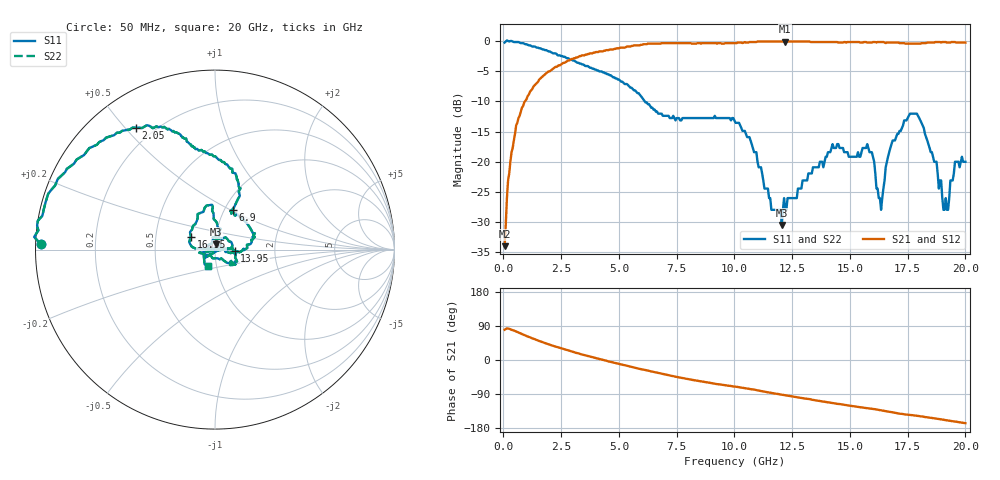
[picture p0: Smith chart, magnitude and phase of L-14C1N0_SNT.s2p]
#	mhz	s	ma	r	50
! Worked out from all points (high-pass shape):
!   400 points, 50 MHz to 20 GHz, reference 50 ohm
!   highest |S21| = -0.09 dB at 12.2 GHz (marker M1); lowest = -34.0 dB at 50 MHz (marker M2)
!   |S21| within 3 dB of the highest: 2.904 GHz to end of sweep
!   lowest |S11| = -30.5 dB at 12.05 GHz (marker M3), VSWR 1.06, Z = 50.4 + j2.99 ohm
!   |S11| at or under -10 dB: 6.119 GHz to end of sweep
!   |S22| runs from -30.5 to 0.1 dB; largest |S21 - S12| = 0
!   S11 on the Smith chart (normalised r, x): 50 MHz: 0.02, +0.01; 2.05 GHz: 0.14, +0.54; 6.9 GHz: 1.09, +0.51; 13.95 GHz: 1.25, -0.02; 16.95 GHz: 0.76, +0.11; 20 GHz: 0.91, -0.17
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50  0.97 178.3  0.02 79.9  0.02 79.9  0.97 178.3
200  1 174.9  0.07 83.0  0.07 83.0  1 174.9
550  0.98 164.0  0.2 75.3  0.2 75.3  0.98 164.0
2050  0.81 122.9  0.57 39.2  0.57 39.2  0.81 122.9
3400  0.64 105.3  0.76 14.6  0.76 14.6  0.64 105.3
6700  0.25 65.8  0.95 -34.2  0.95 -34.2  0.25 65.8
6900  0.24 65.9  0.96 -36.8  0.96 -36.8  0.24 65.9
10050  0.21 13.8  0.96 -70.3  0.96 -70.3  0.21 13.8
12050  0.03 81.1  0.99 -91.5  0.99 -91.5  0.03 81.1
12200  0.04 95.3  0.99 -93.0  0.99 -93.0  0.04 95.3
13350  0.08 52.3  0.98 -104.7  0.98 -104.7  0.08 52.3
13950  0.11 -4.2  0.98 -110.7  0.98 -110.7  0.11 -4.2
15750  0.14 -36.5  0.97 -127.2  0.97 -127.2  0.14 -36.5
16350  0.04 -136.0  0.98 -132.9  0.98 -132.9  0.04 -136.0
16600  0.1 3.9  0.97 -135.5  0.97 -135.5  0.1 3.9
16700  0.12 174.8  0.97 -136.5  0.97 -136.5  0.12 174.8
16950  0.15 152.8  0.97 -139.3  0.97 -139.3  0.15 152.8
17900  0.25 93.8  0.95 -147.1  0.95 -147.1  0.25 93.8
18750  0.1 74.3  0.98 -154.7  0.98 -154.7  0.1 74.3
19050  0.04 105.4  0.98 -157.7  0.98 -157.7  0.04 105.4
19550  0.1 -125.7  0.98 -162.3  0.98 -162.3  0.1 -125.7
20000  0.1 -112.6  0.97 -166.7  0.97 -166.7  0.1 -112.6
